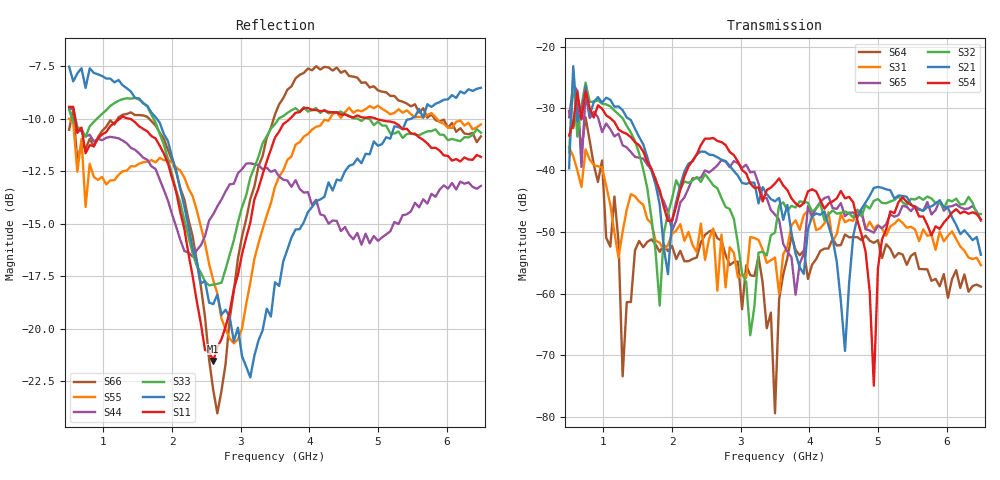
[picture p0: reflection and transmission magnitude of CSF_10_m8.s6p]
!Keysight Technologies,M9804A,MY58100912,A.14.10.03
!Date: Thursday, April 27, 2023 10:28:33
!Correction: S11(C  6-Port  )
!S12(C  6-Port  )
!S13(C  6-Port  )
!S14(C  6-Port  )
!S15(C  6-Port  )
!S16(C  6-Port  )
!S21(C  6-Port  )
!S22(C  6-Port  )
!S23(C  6-Port  )
!S24(C  6-Port  )
!S25(C  6-Port  )
!S26(C  6-Port  )
!S31(C  6-Port  )
!S32(C  6-Port  )
!S33(C  6-Port  )
!S34(C  6-Port  )
!S35(C  6-Port  )
!S36(C  6-Port  )
!S41(C  6-Port  )
!S42(C  6-Port  )
!S43(C  6-Port  )
!S44(C  6-Port  )
!S45(C  6-Port  )
!S46(C  6-Port  )
!S51(C  6-Port  )
!S52(C  6-Port  )
!S53(C  6-Port  )
!S54(C  6-Port  )
!S55(C  6-Port  )
!S56(C  6-Port  )
!S61(C  6-Port  )
!S62(C  6-Port  )
!S63(C  6-Port  )
!S64(C  6-Port  )
!S65(C  6-Port  )
!S66(C  6-Port  )
!S6P File: Measurement: :
# Hz S  RI  R 50
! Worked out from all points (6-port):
!   101 points, 500 MHz to 6.5 GHz, reference 50 ohm
!   strongest paths, dB at 500 MHz, 2 GHz, 3.5 GHz, 5 GHz, 6.5 GHz:
!     S54: -34.4, -48.2, -42.2, -55.9, -48.0
!     S21: -39.7, -48.2, -45.1, -42.7, -53.7
!     S32: -37.2, -44.6, -50.1, -44.7, -47.1
!     S65: -31.5, -49.8, -47.2, -49.0, -48.2
!     S31: -36.4, -50.4, -54.2, -48.9, -55.4
!     S64: -30.4, -52.3, -79.4, -51.4, -58.9
!   lowest |S11| = -21.5 dB at 2.6 GHz (marker M1), VSWR 1.18, Z = 42.5 + j2.1 ohm
!   |S11| at or under -10 dB: 587.5 MHz to 1.237 GHz (649.9 MHz wide, 71.2 % of centre); 1.382 GHz to 3.716 GHz (2.334 GHz wide, 91.6 % of centre); 4.975 GHz to end of sweep
